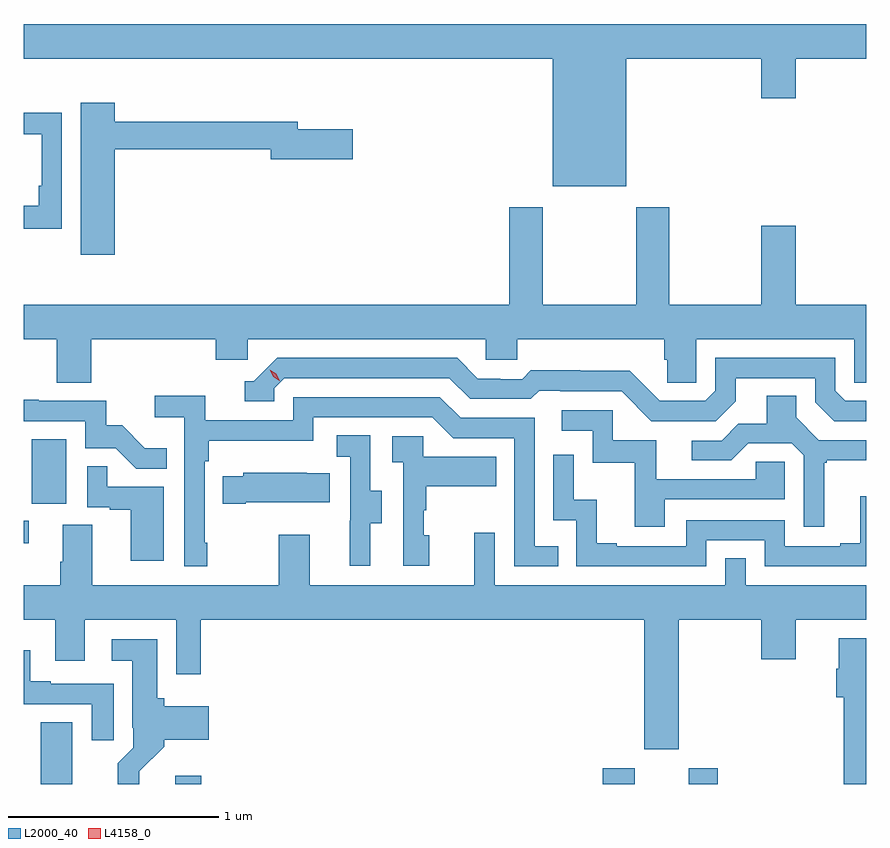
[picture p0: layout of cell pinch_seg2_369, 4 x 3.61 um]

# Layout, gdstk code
import gdstk
lib = gdstk.Library(unit=1e-6, precision=1e-09)
def R(c, l, rs):  # rectangles x0, y0, x1, y1
    for r in rs: c.add(gdstk.rectangle(r[:2], r[2:], *l))
def P(c, l, *ps):  # polygons
    for p in ps: c.add(gdstk.Polygon(p, *l))
L2000_40 = (2000, 40)
L4158_0 = (4158, 0)

pinch_seg2_369 = lib.new_cell('pinch_seg2_369')
R(pinch_seg2_369, L2000_40, [(1000.748,605.564,1000.897,605.858), (1001.387,605.564,1001.51,605.602), (1003.415,605.564,1003.567,605.638), (1003.823,605.564,1003.963,605.638), (1000.667,606.708,1000.69,606.813), (1000.706,606.894,1000.87,607.201)])
P(pinch_seg2_369, L2000_40, [(1003.528,609.008),(1004.168,609.008),(1004.168,608.82),(1004.332,608.82),(1004.332,609.008),(1004.667,609.008),(1004.667,609.172),(1000.667,609.172),(1000.667,609.008),(1003.178,609.008),(1003.178,608.402),(1003.528,608.402)],
  [(1001.098,608.578),(1001.84,608.578),(1001.84,608.531),(1002.229,608.531),(1002.229,608.673),(1001.968,608.673),(1001.968,608.707),(1001.098,608.707),(1001.098,608.797),(1000.937,608.797),(1000.937,608.076),(1001.098,608.076)],
  [(1000.848,608.75),(1000.667,608.75),(1000.667,608.649),(1000.752,608.649),(1000.752,608.404),(1000.739,608.404),(1000.739,608.308),(1000.667,608.308),(1000.667,608.199),(1000.848,608.199)],
  [(1000.667,607.676),(1000.823,607.676),(1000.823,607.468),(1000.988,607.468),(1000.988,607.676),(1001.579,607.676),(1001.579,607.578),(1001.73,607.578),(1001.73,607.676),(1002.861,607.676),(1002.861,607.578),(1003.011,607.578),(1003.011,607.676),(1003.709,607.676),(1003.709,607.578),(1003.723,607.578),(1003.723,607.468),(1003.86,607.468),(1003.86,607.676),(1004.61,607.676),(1004.61,607.468),(1004.667,607.468),(1004.667,607.84),(1004.332,607.84),(1004.332,608.215),(1004.168,608.215),(1004.168,607.84),(1003.731,607.84),(1003.731,608.302),(1003.576,608.302),(1003.576,607.84),(1003.131,607.84),(1003.131,608.302),(1002.971,608.302),(1002.971,607.84),(1000.667,607.84)],
  [(1004.047,607.381),(1004.047,607.491),(1004.424,607.491),(1004.424,607.377),(1004.514,607.287),(1004.667,607.287),(1004.667,607.383),(1004.568,607.383),(1004.52,607.431),(1004.52,607.587),(1003.95,607.587),(1003.95,607.431),(1003.902,607.383),(1003.686,607.383),(1003.544,607.525),(1003.308,607.525),(1003.308,607.528),(1003.075,607.528),(1003.033,607.485),(1002.93,607.485),(1002.93,607.488),(1002.823,607.488),(1002.724,607.587),(1001.871,607.587),(1001.76,607.476),(1001.717,607.476),(1001.717,607.38),(1001.856,607.38),(1001.856,607.443),(1001.904,607.491),(1002.687,607.491),(1002.786,607.392),(1003.075,607.392),(1003.114,607.431),(1003.213,607.431),(1003.213,607.428),(1003.506,607.428),(1003.647,607.287),(1003.953,607.287)],
  [(1001.539,606.709),(1001.526,606.709),(1001.526,607.097),(1001.546,607.097),(1001.546,607.193),(1002.042,607.193),(1002.042,607.305),(1002.606,607.305),(1002.705,607.206),(1002.996,607.206),(1002.996,606.597),(1003.205,606.597),(1003.205,606.693),(1003.092,606.693),(1003.092,607.302),(1002.742,607.302),(1002.643,607.401),(1001.946,607.401),(1001.946,607.29),(1001.528,607.29),(1001.528,607.406),(1001.289,607.406),(1001.289,607.304),(1001.43,607.304),(1001.43,606.597),(1001.539,606.597)],
  [(1004.467,607.089),(1004.479,607.089),(1004.479,607.1),(1004.667,607.1),(1004.667,607.197),(1004.442,607.197),(1004.335,607.304),(1004.335,607.406),(1004.195,607.406),(1004.195,607.274),(1004.06,607.274),(1003.98,607.194),(1003.839,607.194),(1003.839,607.101),(1004.026,607.101),(1004.107,607.182),(1004.313,607.182),(1004.37,607.125),(1004.37,606.786),(1004.467,606.786)],
  [(1001.345,607.159),(1001.241,607.159),(1001.134,607.266),(1001.058,607.266),(1001.058,607.383),(1000.739,607.383),(1000.739,607.388),(1000.667,607.388),(1000.667,607.287),(1000.959,607.287),(1000.959,607.158),(1001.103,607.158),(1001.201,607.06),(1001.345,607.06)],
  [(1003.711,606.915),(1004.28,606.915),(1004.28,607.095),(1004.143,607.095),(1004.143,607.011),(1003.669,607.011),(1003.669,607.197),(1003.464,607.197),(1003.464,607.338),(1003.221,607.338),(1003.221,607.242),(1003.368,607.242),(1003.368,607.089),(1003.567,607.089),(1003.567,606.786),(1003.711,606.786)],
  [(1002.313,606.802),(1002.367,606.802),(1002.367,606.957),(1002.312,606.957),(1002.312,607.22),(1002.153,607.22),(1002.153,607.117),(1002.216,607.117),(1002.216,606.813),(1002.215,606.813),(1002.215,606.6),(1002.313,606.6)],
  [(1002.592,606.744),(1002.567,606.744),(1002.567,606.863),(1002.577,606.863),(1002.577,606.977),(1002.911,606.977),(1002.911,607.117),(1002.564,607.117),(1002.564,607.215),(1002.417,607.215),(1002.417,607.091),(1002.468,607.091),(1002.468,606.6),(1002.592,606.6)],
  [(1003.908,606.72),(1004.184,606.72),(1004.184,606.597),(1004.667,606.597),(1004.667,606.931),(1004.639,606.931),(1004.639,606.706),(1004.543,606.706),(1004.543,606.693),(1004.28,606.693),(1004.28,606.816),(1003.812,606.816),(1003.812,606.693),(1003.483,606.693),(1003.483,606.706),(1003.388,606.706),(1003.388,606.914),(1003.278,606.914),(1003.278,607.126),(1003.182,607.126),(1003.182,606.816),(1003.29,606.816),(1003.29,606.597),(1003.908,606.597)],
  [(1001.332,606.975),(1001.063,606.975),(1001.063,607.073),(1000.968,607.073),(1000.968,606.879),(1001.075,606.879),(1001.075,606.867),(1001.174,606.867),(1001.174,606.624),(1001.332,606.624)],
  [(1001.722,606.902),(1002.119,606.902),(1002.119,607.039),(1002.011,607.039),(1002.011,607.042),(1001.709,607.042),(1001.709,607.024),(1001.611,607.024),(1001.611,606.895),(1001.722,606.895)],
  [(1000.957,606.344),(1001.391,606.344),(1001.391,606.084),(1001.507,606.084),(1001.507,606.344),(1003.613,606.344),(1003.613,605.73),(1003.777,605.73),(1003.777,606.344),(1004.168,606.344),(1004.168,606.156),(1004.332,606.156),(1004.332,606.344),(1004.667,606.344),(1004.667,606.508),(1004.094,606.508),(1004.094,606.635),(1003.998,606.635),(1003.998,606.508),(1002.903,606.508),(1002.903,606.757),(1002.806,606.757),(1002.806,606.508),(1002.025,606.508),(1002.025,606.748),(1001.878,606.748),(1001.878,606.508),(1000.993,606.508),(1000.993,606.794),(1000.853,606.794),(1000.853,606.62),(1000.841,606.62),(1000.841,606.508),(1000.667,606.508),(1000.667,606.344),(1000.817,606.344),(1000.817,606.15),(1000.957,606.15)],
  [(1004.667,606.256),(1004.537,606.256),(1004.537,606.11),(1004.525,606.11),(1004.525,605.976),(1004.561,605.976),(1004.561,605.564),(1004.667,605.564)],
  [(1001.215,605.624),(1001.333,605.742),(1001.333,605.774),(1001.545,605.774),(1001.545,605.932),(1001.333,605.932),(1001.333,605.97),(1001.302,605.97),(1001.302,606.25),(1001.085,606.25),(1001.085,606.149),(1001.183,606.149),(1001.183,605.83),(1001.187,605.83),(1001.187,605.736),(1001.113,605.662),(1001.113,605.564),(1001.215,605.564)],
  [(1001.095,606.039),(1000.795,606.039),(1000.795,606.052),(1000.699,606.052),(1000.699,606.199),(1000.667,606.199),(1000.667,605.943),(1000.991,605.943),(1000.991,605.772),(1001.095,605.772)])
P(pinch_seg2_369, L4158_0, [(1001.881,607.479),(1001.851,607.498),(1001.835,607.531),(1001.835,607.531),(1001.835,607.531),(1001.866,607.511),(1001.882,607.479),(1001.882,607.479)])

lib.write_gds('pinch_seg2_369.gds')
